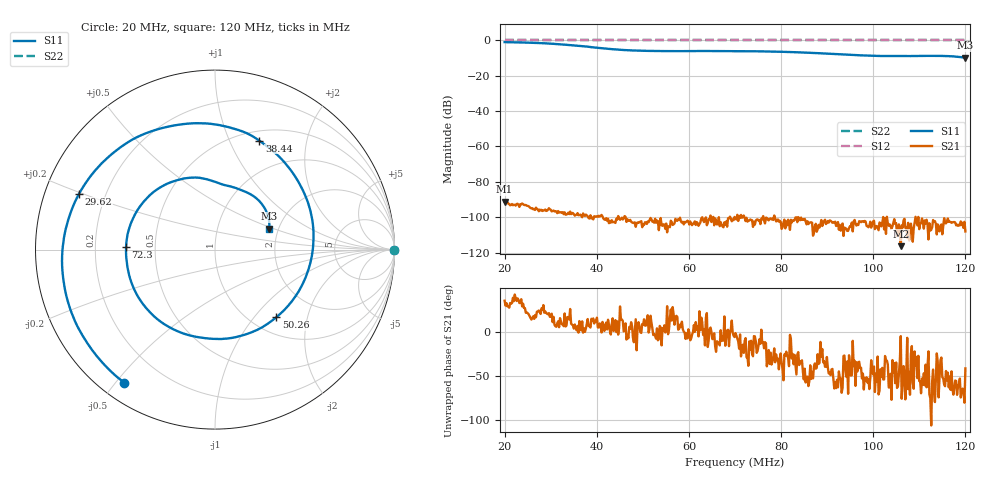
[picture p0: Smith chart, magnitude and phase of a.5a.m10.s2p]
! Anritsu VNA Master:  Model: MS2036C/10/77
! SN:  1601066
! /bd0/18may8/255.ew.m10.s2p
! Existing Calibration Information:
! TYPE:  Current Settings,  Active Cal Settings
! TIME:  05/08/2018 10:32:36 AM,  05/08/2018 10:22:10 AM
! INTERNAL TEMP:  48.0 C,  47.5 C
! # POINTS:  500,  500
! START FREQ:  20.000 MHz,  20.000 MHz
! STOP FREQ:  120.000 MHz,  120.000 MHz
! SOURCE POWER:  High,  High
! IFBW:  50 Hz,  50 Hz
! AVG FACTOR:  1 ,  1
! REF PLANE 1:  0 mm,  0 mm
! REF PLANE 2:  0 mm,  0 mm
! CAL TYPE:  Full S11,  Full S11
! CAL METHOD:  SOLT,  SOLT
! CAL LINE TYPE:  Coax,  Coax
! DUT PORT 1:  K-Conn(F),  K-Conn(F)
! DUT PORT 2:  K-Conn(F),  K-Conn(F)
! CAL STATUS:  OK: Accuracy High,  --
# GHZ S DB R 50.0
! FREQ.GHZ  S11DB  S11A  S21DB  S21A  S12DB  S12A  S22DB  S22A
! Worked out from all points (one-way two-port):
!   500 points, 20 MHz to 120 MHz, reference 50 ohm
!   highest |S21| = -91.18 dB at 20 MHz (marker M1); lowest = -116.4 dB at 106 MHz (marker M2)
!   lowest |S11| = -9.8 dB at 120 MHz (marker M3), VSWR 1.96, Z = 89.5 + j23.2 ohm
!   |S11| at or under -10 dB: nowhere
!   |S22| runs from 0.0 to 0.0 dB; largest |S21 - S12| = 1
!   S11 on the Smith chart (normalised r, x): 20 MHz: 0.07, -0.53; 29.62 MHz: 0.10, +0.20; 38.44 MHz: 0.61, +1.30; 50.26 MHz: 1.29, -1.31; 72.3 MHz: 0.34, +0.01; 120 MHz: 1.79, +0.46
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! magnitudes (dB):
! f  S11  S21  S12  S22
! 20 MHz  -0.9  -91.2  0.0  0.0
! 25.21 MHz  -1.2  -93.8  0.0  0.0
! 29.62 MHz  -1.7  -95.0  0.0  0.0
! 32.83 MHz  -2.3  -98.3  0.0  0.0
! 36.83 MHz  -3.2  -100.1  0.0  0.0
! 38.44 MHz  -3.7  -100.8  0.0  0.0
! 41.44 MHz  -4.5  -100.8  0.0  0.0
! 44.65 MHz  -5.2  -99.4  0.0  0.0
! 47.25 MHz  -5.6  -101.5  0.0  0.0
! 50.26 MHz  -5.9  -104.4  0.0  0.0
! 53.47 MHz  -6.0  -107.4  0.0  0.0
! 64.89 MHz  -6.0  -102.7  0.0  0.0
! 70.1 MHz  -6.1  -100.8  0.0  0.0
! 72.3 MHz  -6.1  -102.2  0.0  0.0
! 80.32 MHz  -6.4  -105.7  0.0  0.0
! 86.73 MHz  -7.0  -103.2  0.0  0.0
! 98.16 MHz  -8.5  -102.1  0.0  0.0
! 103.4 MHz  -8.8  -104.9  0.0  0.0
! 106 MHz  -8.8  -116.4  0.0  0.0
! 115 MHz  -8.8  -109.7  0.0  0.0
! 117.6 MHz  -9.1  -102.7  0.0  0.0
! 120 MHz  -9.8  -108.1  0.0  0.0
